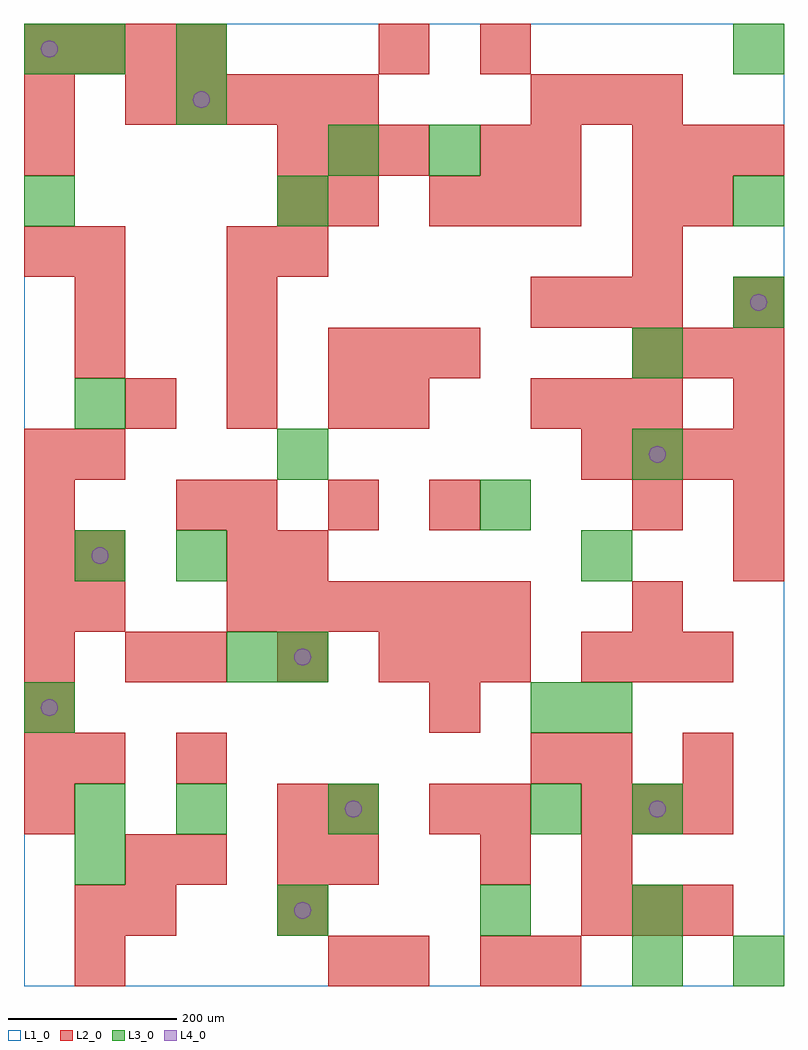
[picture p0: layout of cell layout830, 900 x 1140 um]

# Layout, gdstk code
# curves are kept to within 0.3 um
import gdstk
lib = gdstk.Library(unit=1e-6, precision=1e-09)
def R(c, l, rs):  # rectangles x0, y0, x1, y1
    for r in rs: c.add(gdstk.rectangle(r[:2], r[2:], *l))
def A(c, l, x, y, w, h, nx, ny, dx, dy):  # array of equal rectangles
    R(c, l, [(x+i*dx, y+j*dy, x+i*dx+w, y+j*dy+h) for i in range(nx) for j in range(ny)])
def P(c, l, *ps):  # polygons
    for p in ps: c.add(gdstk.Polygon(p, *l))
L1_0 = (1, 0)
L2_0 = (2, 0)
L3_0 = (3, 0)
L4_0 = (4, 0)

layout830 = lib.new_cell('layout830')
R(layout830, L1_0, [(0,0,900,1140)])
A(layout830, L2_0, 60, 60, 60, 60, 1, 3, 0, 180)
A(layout830, L2_0, 300, 60, 60, 60, 1, 3, 0, 60)
A(layout830, L2_0, 660, 60, 60, 60, 3, 2, 60, 120)
A(layout830, L2_0, 0, 180, 60, 60, 1, 8, 0, 60)
A(layout830, L2_0, 180, 360, 60, 60, 3, 1, 120, 0)
A(layout830, L2_0, 660, 360, 60, 60, 3, 1, 60, 0)
A(layout830, L2_0, 240, 420, 60, 60, 6, 1, 60, 0)
A(layout830, L2_0, 60, 480, 60, 60, 1, 3, 0, 120)
A(layout830, L2_0, 240, 540, 60, 60, 3, 1, 120, 0)
A(layout830, L2_0, 840, 540, 60, 60, 1, 3, 0, 120)
A(layout830, L2_0, 660, 600, 60, 60, 4, 1, 60, 0)
A(layout830, L2_0, 120, 660, 60, 60, 3, 1, 120, 0)
A(layout830, L2_0, 600, 660, 60, 60, 3, 2, 60, 120)
A(layout830, L2_0, 240, 720, 60, 60, 1, 3, 0, 60)
A(layout830, L2_0, 360, 720, 60, 60, 3, 1, 60, 0)
A(layout830, L2_0, 720, 720, 60, 60, 3, 2, 60, 240)
A(layout830, L2_0, 480, 900, 60, 60, 3, 1, 60, 0)
A(layout830, L2_0, 300, 960, 60, 60, 3, 1, 60, 0)
A(layout830, L2_0, 120, 1020, 60, 60, 5, 1, 60, 0)
A(layout830, L2_0, 600, 1020, 60, 60, 3, 1, 60, 0)
A(layout830, L2_0, 0, 1080, 60, 60, 4, 1, 60, 0)
R(layout830, L2_0, [(60,0,120,60), (360,0,420,60), (420,0,480,60), (540,0,600,60), (600,0,660,60), (120,60,180,120), (120,120,180,180), (180,120,240,180), (360,120,420,180), (540,120,600,180), (660,120,720,180), (360,180,420,240), (480,180,540,240), (540,180,600,240), (180,240,240,300), (600,240,660,300), (660,240,720,300), (780,240,840,300), (480,300,540,360), (120,360,180,420), (480,360,540,420), (540,360,600,420), (720,420,780,480), (240,480,300,540), (300,480,360,540), (840,480,900,540), (180,540,240,600), (720,540,780,600), (420,660,480,720), (60,780,120,840), (0,840,60,900), (60,840,120,900), (300,840,360,900), (720,840,780,900), (300,900,360,960), (360,900,420,960), (720,900,780,960), (780,900,840,960), (0,960,60,1020), (540,960,600,1020), (600,960,660,1020), (0,1020,60,1080), (420,1080,480,1140), (540,1080,600,1140)])
R(layout830, L3_0, [(720,0,780,60), (840,0,900,60), (300,60,360,120), (540,60,600,120), (720,60,780,120), (60,120,120,180), (60,180,120,240), (180,180,240,240), (360,180,420,240), (600,180,660,240), (720,180,780,240), (0,300,60,360), (600,300,660,360), (660,300,720,360), (240,360,300,420), (300,360,360,420), (60,480,120,540), (180,480,240,540), (660,480,720,540), (540,540,600,600), (300,600,360,660), (720,600,780,660), (60,660,120,720), (720,720,780,780), (840,780,900,840), (0,900,60,960), (300,900,360,960), (840,900,900,960), (360,960,420,1020), (480,960,540,1020), (180,1020,240,1080), (0,1080,60,1140), (60,1080,120,1140), (180,1080,240,1140), (840,1080,900,1140)])
P(layout830, L4_0, [(40,330),(39.239,333.827),(37.071,337.071),(33.827,339.239),(30,340),(26.173,339.239),(22.929,337.071),(20.761,333.827),(20,330),(20.761,326.173),(22.929,322.929),(26.173,320.761),(30,320),(33.827,320.761),(37.071,322.929),(39.239,326.173)],
  [(40,1110),(39.239,1113.827),(37.071,1117.071),(33.827,1119.239),(30,1120),(26.173,1119.239),(22.929,1117.071),(20.761,1113.827),(20,1110),(20.761,1106.173),(22.929,1102.929),(26.173,1100.761),(30,1100),(33.827,1100.761),(37.071,1102.929),(39.239,1106.173)],
  [(100,510),(99.239,513.827),(97.071,517.071),(93.827,519.239),(90,520),(86.173,519.239),(82.929,517.071),(80.761,513.827),(80,510),(80.761,506.173),(82.929,502.929),(86.173,500.761),(90,500),(93.827,500.761),(97.071,502.929),(99.239,506.173)],
  [(220,1050),(219.239,1053.827),(217.071,1057.071),(213.827,1059.239),(210,1060),(206.173,1059.239),(202.929,1057.071),(200.761,1053.827),(200,1050),(200.761,1046.173),(202.929,1042.929),(206.173,1040.761),(210,1040),(213.827,1040.761),(217.071,1042.929),(219.239,1046.173)],
  [(340,90),(339.239,93.827),(337.071,97.071),(333.827,99.239),(330,100),(326.173,99.239),(322.929,97.071),(320.761,93.827),(320,90),(320.761,86.173),(322.929,82.929),(326.173,80.761),(330,80),(333.827,80.761),(337.071,82.929),(339.239,86.173)],
  [(340,390),(339.239,393.827),(337.071,397.071),(333.827,399.239),(330,400),(326.173,399.239),(322.929,397.071),(320.761,393.827),(320,390),(320.761,386.173),(322.929,382.929),(326.173,380.761),(330,380),(333.827,380.761),(337.071,382.929),(339.239,386.173)],
  [(400,210),(399.239,213.827),(397.071,217.071),(393.827,219.239),(390,220),(386.173,219.239),(382.929,217.071),(380.761,213.827),(380,210),(380.761,206.173),(382.929,202.929),(386.173,200.761),(390,200),(393.827,200.761),(397.071,202.929),(399.239,206.173)],
  [(760,210),(759.239,213.827),(757.071,217.071),(753.827,219.239),(750,220),(746.173,219.239),(742.929,217.071),(740.761,213.827),(740,210),(740.761,206.173),(742.929,202.929),(746.173,200.761),(750,200),(753.827,200.761),(757.071,202.929),(759.239,206.173)],
  [(760,630),(759.239,633.827),(757.071,637.071),(753.827,639.239),(750,640),(746.173,639.239),(742.929,637.071),(740.761,633.827),(740,630),(740.761,626.173),(742.929,622.929),(746.173,620.761),(750,620),(753.827,620.761),(757.071,622.929),(759.239,626.173)],
  [(880,810),(879.239,813.827),(877.071,817.071),(873.827,819.239),(870,820),(866.173,819.239),(862.929,817.071),(860.761,813.827),(860,810),(860.761,806.173),(862.929,802.929),(866.173,800.761),(870,800),(873.827,800.761),(877.071,802.929),(879.239,806.173)])

lib.write_gds('layout830.gds')
